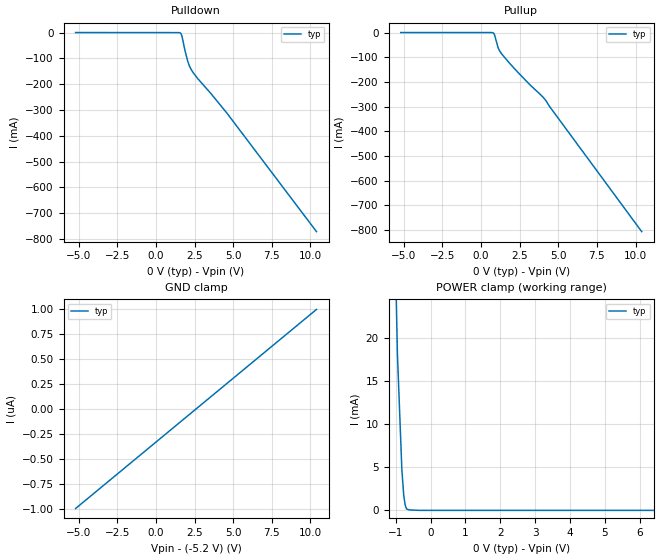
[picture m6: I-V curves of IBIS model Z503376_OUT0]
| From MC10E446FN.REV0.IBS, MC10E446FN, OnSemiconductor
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| (C) COPYRIGHT 1993-2000
| MENTOR GRAPHICS CORPORATION
| ICX STANDARD LIBRARY, ICX PROJECT MODELING,
| ICX CUSTOM MODELING, ICX VENDOR MODEL
| ALL RIGHTS RESERVED.
| THE FOLLOWING ARE TRADEMARKS OR SERVICE MARKS OF
| MENTOR GRAPHICS CORPORATION:ICX (R), ICX STANDARD
| LIBRARY(R), ICX PROJECT MODELING(R), ICX CUSTOM
| MODELING(R), qualityIBIS(TM), MODELVIEWER(TM),
| AND MODELEDITOR(TM)
| ALL COPIES OF SOFTWARE, INCLUDING BUT NOT LIMITED TO
| ANY MODIFICATIONS, ENHANCEMENTS OR DERIVATIVE WORKS,
| MUST CONTAIN ALL MENTOR GRAPHICS CORPORATION'S
| NOTICES AND LEGENDS, INCLUDING THOSE EMBEDDED IN
| SOFTWARE AND THOSE AFFIXED TO SOFTWARE MEDIUM
| AND CONTAINER, AS RECEIVED FROM MENTOR GRAPHICS
| CORPORATION.
| Model Application Version 1.89 2/18/99.
[Model] Z503376_OUT0
Model_type Output_ECL
Vref=-2.000V
Rref=50.00ohms
Cref=0.000F
Vmeas=-1.320V
C_comp 8.000pF NA NA
| variable typ   min   max
[Voltage Range] -5.200V NA NA
[POWER Clamp Reference] 0.000V NA NA
[Pullup Reference] 0.000V NA NA
[Pulldown Reference] 0.000V NA NA
[GND Clamp Reference] -5.200V NA NA
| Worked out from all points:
|   POWER clamp passes 1 mA (typ) near -0.74 V on its own axis
[GND Clamp]
-5.2V     -1uA       NA         NA
10.4V     1uA        NA         NA
[Pulldown]
-5.2V     262.2uA    NA         NA
1.465V    -39.52uA   NA         NA
1.602V    -2.467mA   NA         NA
1.689V    -14.14mA   NA         NA
1.885V    -69.78mA   NA         NA
2.06V     -110.6mA   NA         NA
2.179V    -130.4mA   NA         NA
2.43V     -156.5mA   NA         NA
4.6V      -312.1mA   NA         NA
10.4V     -771.2mA   NA         NA
[Pullup]
-5.2V     58.15uA    NA         NA
804.7mV   -2.138mA   NA         NA
889.6mV   -12.99mA   NA         NA
1.099V    -61.1mA    NA         NA
1.184V    -72.76mA   NA         NA
1.33V     -86.15mA   NA         NA
2.402V    -162.4mA   NA         NA
4.033V    -263.2mA   NA         NA
4.215V    -277.5mA   NA         NA
4.448V    -300.7mA   NA         NA
10.4V     -806.8mA   NA         NA
[POWER Clamp]
-5.2V     1.83A      NA         NA
-1.152V   71.62mA    NA         NA
-1.047V   36.79mA    NA         NA
-950.1mV  18.15mA    NA         NA
-823.2mV  4.742mA    NA         NA
-768.5mV  1.702mA    NA         NA
-726.5mV  603.3uA    NA         NA
-688.2mV  156.8uA    NA         NA
-610.5mV  48.75uA    NA         NA
-305.2mV  0A         NA         NA
10.4V     0A         NA         NA
[Ramp]
| variable typ min max
dV/dt_r 432.0m/446.5p NA NA
dV/dt_f 432.0m/261.2p NA NA
R_load = 50.00Ohms
